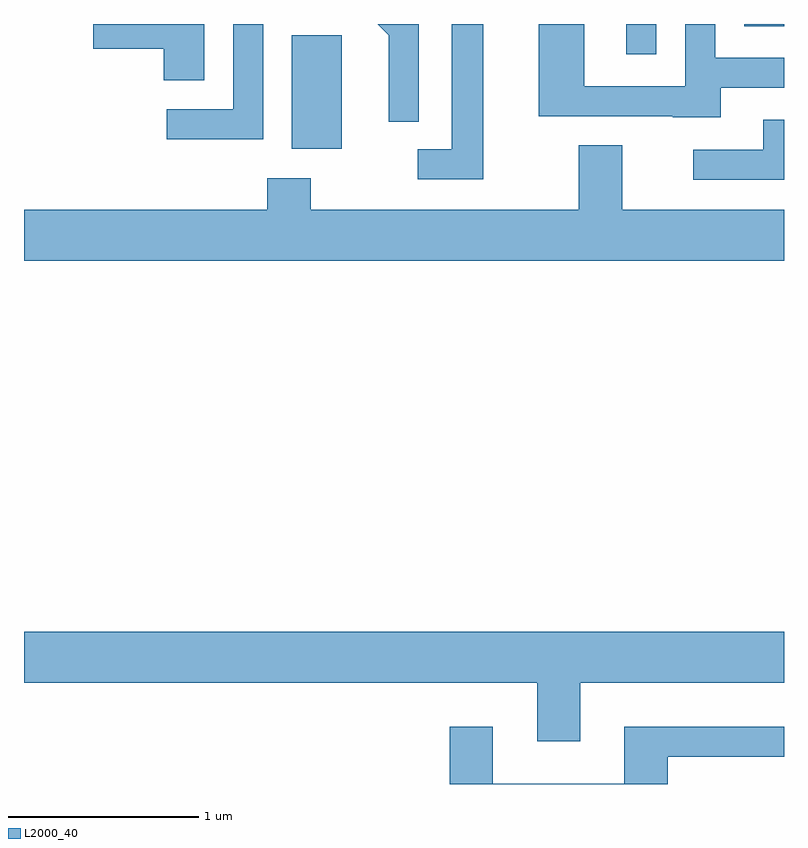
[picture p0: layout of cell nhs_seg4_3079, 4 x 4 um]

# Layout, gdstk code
import gdstk
lib = gdstk.Library(unit=1e-6, precision=1e-09)
def R(c, l, rs):  # rectangles x0, y0, x1, y1
    for r in rs: c.add(gdstk.rectangle(r[:2], r[2:], *l))
def P(c, l, *ps):  # polygons
    for p in ps: c.add(gdstk.Polygon(p, *l))
L2000_40 = (2000, 40)

nhs_seg4_3079 = lib.new_cell('nhs_seg4_3079')
R(nhs_seg4_3079, L2000_40, [(277.021,1295.326,277.284,1295.924), (278.781,1295.823,278.939,1295.982), (279.401,1295.971,279.611,1295.982)])
P(nhs_seg4_3079, L2000_40, [(276.559,1295.982),(275.976,1295.982),(275.976,1295.851),(276.346,1295.851),(276.346,1295.686),(276.559,1295.686)],
  [(279.279,1295.646),(279.611,1295.646),(279.611,1295.804),(279.249,1295.804),(279.249,1295.982),(279.091,1295.982),(279.091,1295.654),(278.559,1295.654),(278.559,1295.982),(278.321,1295.982),(278.321,1295.496),(279.025,1295.496),(279.025,1295.491),(279.279,1295.491)],
  [(278.029,1295.982),(277.861,1295.982),(277.861,1295.324),(277.683,1295.324),(277.683,1295.166),(278.029,1295.166)],
  [(276.869,1295.982),(276.711,1295.982),(276.711,1295.534),(276.363,1295.534),(276.363,1295.376),(276.869,1295.376)],
  [(277.689,1295.982),(277.473,1295.982),(277.531,1295.924),(277.531,1295.468),(277.689,1295.468)],
  [(279.611,1295.479),(279.501,1295.479),(279.501,1295.319),(279.133,1295.319),(279.133,1295.161),(279.611,1295.161)],
  [(279.611,1295.004),(278.759,1295.004),(278.759,1295.344),(278.531,1295.344),(278.531,1295.004),(277.119,1295.004),(277.119,1295.169),(276.891,1295.169),(276.891,1295.004),(275.611,1295.004),(275.611,1294.736),(279.611,1294.736)],
  [(278.539,1292.516),(279.611,1292.516),(279.611,1292.784),(275.611,1292.784),(275.611,1292.516),(278.311,1292.516),(278.311,1292.206),(278.539,1292.206)],
  [(278.999,1292.126),(279.611,1292.126),(279.611,1292.284),(278.771,1292.284),(278.771,1291.984),(278.079,1291.984),(278.079,1292.284),(277.851,1292.284),(277.851,1291.982),(278.999,1291.982)])

lib.write_gds('nhs_seg4_3079.gds')
